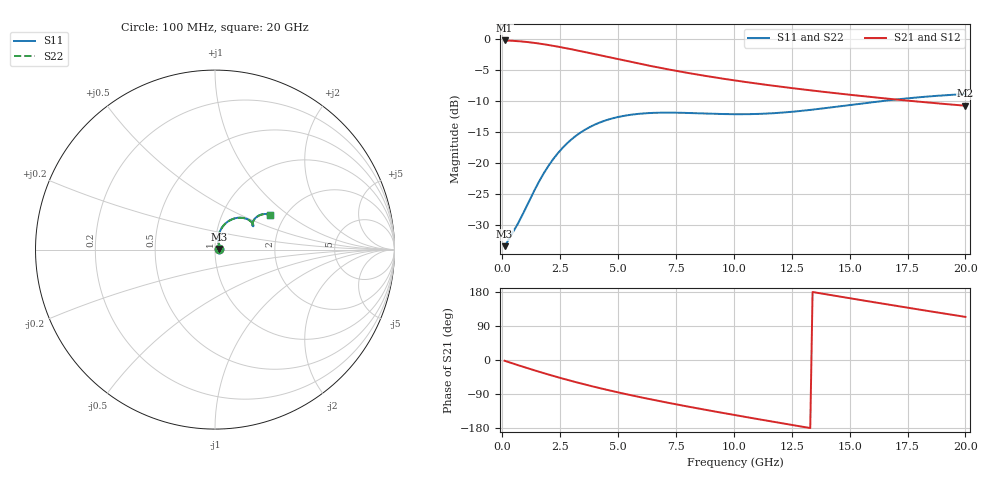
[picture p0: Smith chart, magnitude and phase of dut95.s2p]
! Touchstone file exported from HFSS 2024.1.0
!  File:  C:/UserFiles/LocalFiles/RDL_TSV_Batchsim/temp_RDL_TSV_95_1779418465.aedt
!  Generated:  11:13:04 AM May 22, 2026
!  Design:  RDL_TSV
!  Project:  temp_RDL_TSV_95_1779418465
!  Setup:  Setup1
!  Solution:  Sweep
! Variables:
!  dtsv = 8.33um
!  hbump = 3um
!  htsv = 96.51um
!  ldown = 688.17um
!  lrdl = 333.65um
!  p = 40
!  p1 = 43.25um
!  rhole = 10um
!  subl = 3399.11um
!  t = 450um
!  tdown = 4.28um
!  trdl = 3.51um
!  viad = 10um
!  wdown = 19.63um
!  wrdl = 11.81um
!  xbump = 18um
# GHz S MA R 50.000000
! Terminal data exported
! Port[1] = TM1_1_T1
! Port[2] = TM1_4_T1
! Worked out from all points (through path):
!   200 points, 100 MHz to 20 GHz, reference 50 ohm
!   highest |S21| = -0.19 dB at 100 MHz (marker M1); lowest = -10.7 dB at 20 GHz (marker M2)
!   group delay of S21, straight-line fit = 32.4 ps
!   lowest |S11| = -33.4 dB at 100 MHz (marker M3), VSWR 1.04, Z = 52.1 + j0.439 ohm
!   |S11| at or under -10 dB: start of sweep to 16.35 GHz
!   |S22| runs from -33.4 to -8.9 dB; largest |S21 - S12| = 1.2e-13
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0.1  0.02131 11.4  0.9788 -2.1  0.9788 -2.1  0.02131 11.4
! Gamma 0 0 0 0
! Port Impedance 50 0 50 0
0.5  0.02846 40.4  0.9711 -10.1  0.9711 -10.1  0.02847 40.4
0.9  0.03916 59.6  0.9581 -17.9  0.9581 -17.9  0.03915 59.6
1.4  0.06083 72.4  0.9347 -27.5  0.9347 -27.5  0.06078 72.3
1.8  0.08321 75.4  0.9117 -34.9  0.9117 -34.9  0.08311 75.3
2.2  0.1077 74.7  0.8859 -42.0  0.8859 -42.0  0.1076 74.6
2.6  0.1325 72.0  0.8584 -48.9  0.8584 -48.9  0.1323 71.9
3  0.1561 68.3  0.8299 -55.6  0.8299 -55.6  0.1558 68.3
3.5  0.1826 63.2  0.7939 -63.5  0.7939 -63.5  0.1823 63.1
4.2  0.2123 56.0  0.7443 -74.1  0.7443 -74.1  0.212 55.9
5.1  0.2378 47.7  0.6845 -86.8  0.6845 -86.8  0.2374 47.7
5.9  0.25 41.8  0.6366 -97.4  0.6366 -97.4  0.2497 41.7
6.8  0.2553 36.7  0.5891 -108.6  0.5891 -108.6  0.255 36.7
7.6  0.2552 33.7  0.5523 -118.1  0.5523 -118.1  0.2549 33.7
8.4  0.2527 32.0  0.5199 -127.2  0.5199 -127.2  0.2525 31.9
10.1  0.2481 31.9  0.4635 -145.9  0.4635 -145.9  0.2481 31.8
11.7  0.2528 34.4  0.4216 -163.0  0.4216 -163.0  0.2527 34.3
13.4  0.2702 37.2  0.3853 179.4  0.3853 179.4  0.27 37.0
15.1  0.296 38.1  0.3549 162.0  0.3549 162.0  0.2957 37.9
16.7  0.3217 37.3  0.3306 146.0  0.3306 146.0  0.3212 37.1
18.3  0.344 35.3  0.3096 130.2  0.3096 130.2  0.3433 35.1
20  0.361 32.5  0.2907 113.7  0.2907 113.7  0.3602 32.3
